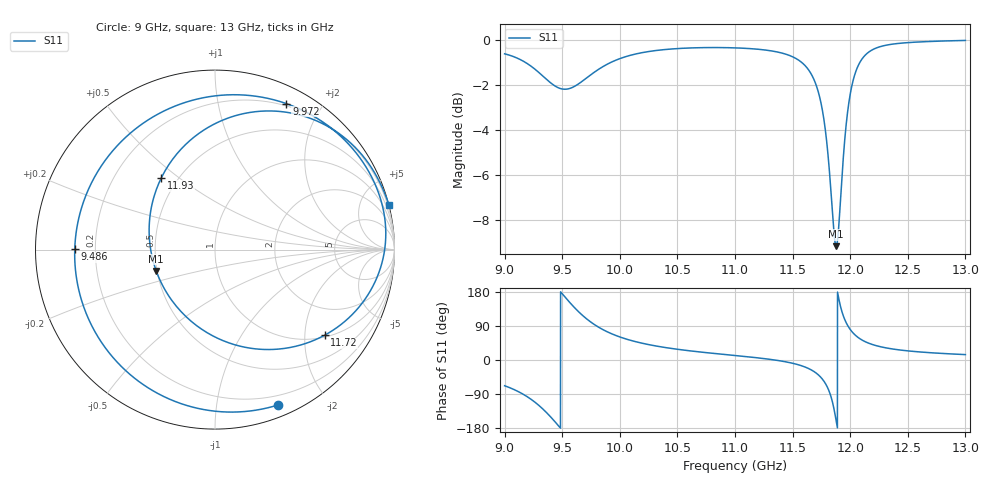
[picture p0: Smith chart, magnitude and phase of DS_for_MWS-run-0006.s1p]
! TOUCHSTONE file generated by CST DESIGN STUDIO
! Date and time: Tue Feb  4 18:03:01 2025
! Project name: C:\Work\MatlabApps\UnitCellOptimizationMatlab\CST\unitcell.cst
! Tree item: Tasks\Sweep1\SPara1\S-Parameters
! Header version: 2024
! Port assignment regex: !\s*Touchstone port\s*([0-9]+)\s*=\s*(CST MWS port|CST DES external port|CST DES block port)\s*(.+)\s* \(\"(.*)\"\)(\s*mode\s*([0-9]+))?.*
! Touchstone port assignment:
! Touchstone port 1 = CST DES external port 1 ("")
# GHz S MA R 50
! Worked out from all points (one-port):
!   4001 points, 9 GHz to 13 GHz, reference 50 ohm
!   lowest |S11| = -9.2 dB at 11.88 GHz (marker M1), VSWR 2.07, Z = 24.7 - j6.72 ohm
!   |S11| at or under -10 dB: nowhere
!   S11 on the Smith chart (normalised r, x): 9 GHz: 0.11, -1.48; 9.486 GHz: 0.12, +0.00; 9.972 GHz: 0.18, +1.59; 11.72 GHz: 1.05, -2.51; 11.93 GHz: 0.41, +0.43; 13 GHz: -0.01, +8.00
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9  0.9341 -67.9
9.157  0.9009 -89.6
9.269  0.8608 -112.7
9.394  0.807 -148.3
9.486  0.7814 179.8
9.5  0.7798 174.8
9.608  0.7907 137.8
9.706  0.8232 110.0
9.818  0.8634 86.2
9.972  0.9054 64.0
10  0.9112 60.8
10.215  0.9417 42.9
10.5  0.9594 28.3
11  0.9629 11.9
11.5  0.9199 -8.6
11.63  0.8661 -21.3
11.719  0.7748 -38.0
11.812  0.54 -78.5
11.844  0.4205 -108.5
11.878  0.3484 -160.0
11.903  0.3929 158.7
11.929  0.4988 126.9
11.963  0.6421 99.8
12  0.7589 80.7
12.076  0.8861 57.8
12.169  0.9455 43.3
12.5  0.9891 24.1
13  1 14.2
